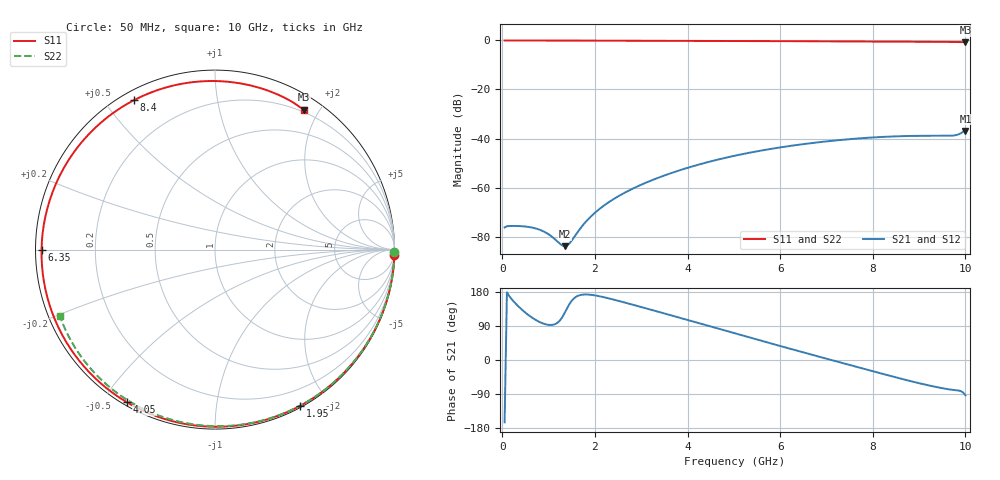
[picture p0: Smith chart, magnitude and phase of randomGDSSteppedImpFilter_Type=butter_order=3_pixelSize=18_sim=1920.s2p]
! freq	dB(S11)	phase(S11)	dB(S12)	phase(S12)
!  dB(S21)	phase(S21)	dB(S22)	phase(S22)
!S-par simulation data
#  GHz  S  DB  R 50
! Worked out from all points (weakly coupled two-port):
!   200 points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, 50 MHz to 10 GHz, reference 50 ohm
!   highest |S21| = -36.94 dB at 10 GHz (marker M1); lowest = -83.9 dB at 1.35 GHz (marker M2)
!   lowest |S11| = -0.7 dB at 10 GHz (marker M3), VSWR 25.25, Z = 8.5 + j90.4 ohm
!   |S11| at or under -10 dB: nowhere
!   |S22| runs from -0.5 to 0.0 dB; largest |S21 - S12| = 0
!   S11 on the Smith chart (normalised r, x): 50 MHz: 0, -70; 1.95 GHz: 0.02, -1.69; 4.05 GHz: 0.01, -0.58; 6.35 GHz: 0.02, -0.00; 8.4 GHz: 0.04, +0.59; 10 GHz: 0.17, +1.81
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0.05  -0.00 -1.6  -76.25 -164.5  -76.25 -164.5  -0.00 -0.9
0.55  -0.02 -17.8  -76.01 119.9  -76.01 119.9  -0.01 -10.0
0.8  -0.03 -25.8  -77.15 100.6  -77.15 100.6  -0.02 -14.4
1.1  -0.04 -35.3  -80.47 93.1  -80.47 93.1  -0.02 -19.8
1.35  -0.05 -43.1  -83.90 124.9  -83.90 124.9  -0.03 -24.2
1.55  -0.06 -49.2  -80.24 162.9  -80.24 162.9  -0.04 -27.7
1.75  -0.07 -55.3  -75.13 172.7  -75.13 172.7  -0.04 -31.2
1.95  -0.08 -61.3  -71.14 171.5  -71.14 171.5  -0.04 -34.7
2.55  -0.10 -78.9  -63.06 154.7  -63.06 154.7  -0.06 -45.0
3.4  -0.13 -102.6  -55.77 126.2  -55.77 126.2  -0.08 -59.2
4.05  -0.16 -119.9  -51.67 104.0  -51.67 104.0  -0.10 -69.8
5.05  -0.21 -145.9  -46.89 69.4  -46.89 69.4  -0.13 -85.4
5.7  -0.25 -162.7  -44.54 47.1  -44.54 47.1  -0.16 -95.2
6.35  -0.30 -180.0  -42.66 25.1  -42.66 25.1  -0.19 -104.8
6.7  -0.33 170.5  -41.81 13.4  -41.81 13.4  -0.21 -109.9
7.55  -0.40 145.9  -40.17 -14.8  -40.17 -14.8  -0.27 -122.0
8.35  -0.47 120.3  -39.22 -41.1  -39.22 -41.1  -0.34 -133.3
8.4  -0.47 118.6  -39.18 -42.7  -39.18 -42.7  -0.35 -134.0
8.85  -0.51 102.7  -38.93 -56.8  -38.93 -56.8  -0.39 -140.4
9.25  -0.55 87.7  -38.89 -68.2  -38.89 -68.2  -0.44 -146.1
9.75  -0.61 67.6  -38.75 -79.1  -38.75 -79.1  -0.50 -153.2
10  -0.69 57.6  -36.94 -93.2  -36.94 -93.2  -0.53 -156.8
